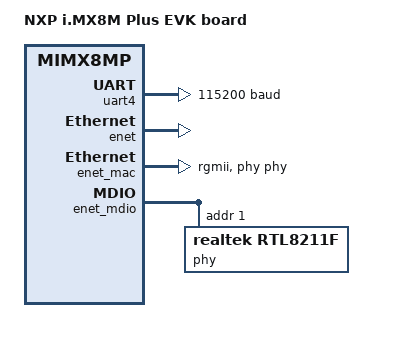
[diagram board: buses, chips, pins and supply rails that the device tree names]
/*
 * Copyright (c) 2021, Laird Connectivity
 *
 * SPDX-License-Identifier: Apache-2.0
 */

/dts-v1/;

#include <nxp/imx/nxp_imx8ml_m7.dtsi>
#include "imx8mp_evk-pinctrl.dtsi"

/ {
	model = "NXP i.MX8M Plus EVK board";
	compatible = "nxp,mimx8mp_evk";

	chosen {
		/* DDR */
		zephyr,flash = &ddr_code;
		zephyr,sram = &ddr_sys;

		zephyr,console = &uart4;
		zephyr,shell-uart = &uart4;
	};
};

&uart4 {
	status = "okay";
	current-speed = <115200>;
	pinctrl-0 = <&uart4_default>;
	pinctrl-names = "default";
};

&gpio3 {
	status = "okay";
};

&mailbox0 {
	status = "okay";
};

/*
 * ENET1 (FEC) is wired to the RGMII PHY through the SAI1 pads. Its pads are
 * also the ones gpio4 muxes, so do not enable gpio4 together with ENET here.
 * The Cortex-A core must leave the controller alone: disable the matching
 * node in the Linux device tree before booting this image.
 */
&enet {
	status = "okay";
	pinctrl-0 = <&pinmux_enet>;
	pinctrl-names = "default";
};

&enet_mac {
	phy-handle = <&phy>;
	zephyr,random-mac-address;
	phy-connection-type = "rgmii";
	status = "okay";
};

&enet_mdio {
	pinctrl-0 = <&pinmux_mdio>;
	pinctrl-names = "default";
	status = "okay";

	phy: phy@1 {
		compatible = "realtek,rtl8211f";
		reg = <1>;
		status = "okay";
	};
};
